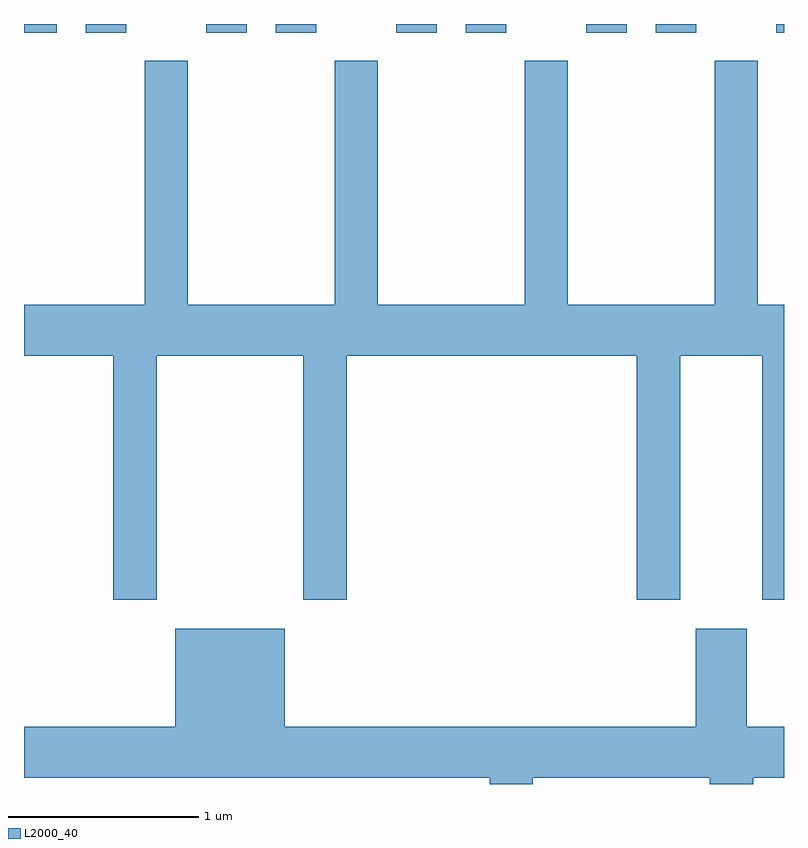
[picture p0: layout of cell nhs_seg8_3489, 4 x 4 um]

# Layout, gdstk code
import gdstk
lib = gdstk.Library(unit=1e-6, precision=1e-09)
def R(c, l, rs):  # rectangles x0, y0, x1, y1
    for r in rs: c.add(gdstk.rectangle(r[:2], r[2:], *l))
def P(c, l, *ps):  # polygons
    for p in ps: c.add(gdstk.Polygon(p, *l))
L2000_40 = (2000, 40)

nhs_seg8_3489 = lib.new_cell('nhs_seg8_3489')
R(nhs_seg8_3489, L2000_40, [(289.611,1880.296,289.784,1880.342), (289.936,1880.296,290.149,1880.342), (290.571,1880.296,290.784,1880.342), (290.936,1880.296,291.149,1880.342), (291.571,1880.296,291.784,1880.342), (291.936,1880.296,292.149,1880.342), (292.571,1880.296,292.784,1880.342), (292.936,1880.296,293.149,1880.342), (293.571,1880.296,293.611,1880.342)])
P(nhs_seg8_3489, L2000_40, [(290.309,1878.596),(291.081,1878.596),(291.081,1877.311),(291.309,1877.311),(291.309,1878.596),(292.836,1878.596),(292.836,1877.311),(293.064,1877.311),(293.064,1878.596),(293.496,1878.596),(293.496,1877.311),(293.611,1877.311),(293.611,1878.864),(293.474,1878.864),(293.474,1880.149),(293.246,1880.149),(293.246,1878.864),(292.474,1878.864),(292.474,1880.149),(292.246,1880.149),(292.246,1878.864),(291.474,1878.864),(291.474,1880.149),(291.246,1880.149),(291.246,1878.864),(290.474,1878.864),(290.474,1880.149),(290.246,1880.149),(290.246,1878.864),(289.611,1878.864),(289.611,1878.596),(290.081,1878.596),(290.081,1877.311),(290.309,1877.311)],
  [(292.289,1876.376),(293.221,1876.376),(293.221,1876.342),(293.449,1876.342),(293.449,1876.376),(293.611,1876.376),(293.611,1876.644),(293.414,1876.644),(293.414,1877.159),(293.146,1877.159),(293.146,1876.644),(290.984,1876.644),(290.984,1877.159),(290.406,1877.159),(290.406,1876.644),(289.611,1876.644),(289.611,1876.376),(292.061,1876.376),(292.061,1876.342),(292.289,1876.342)])

lib.write_gds('nhs_seg8_3489.gds')
